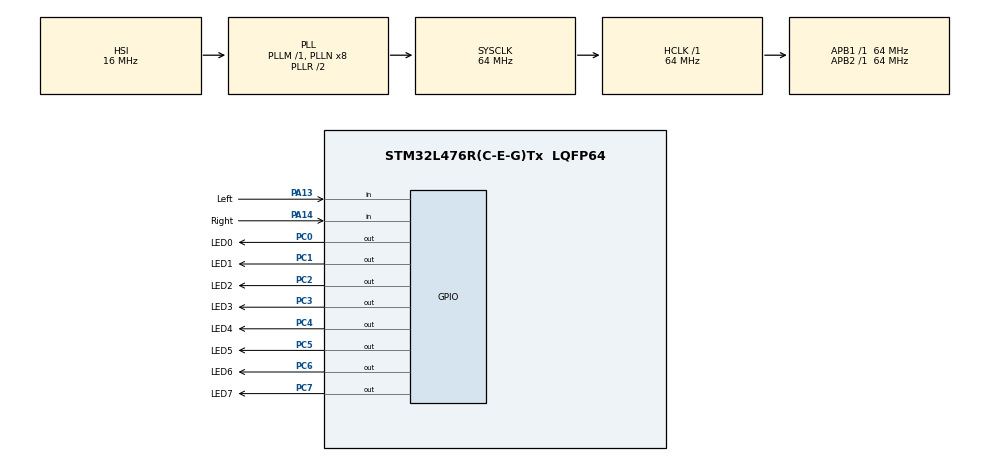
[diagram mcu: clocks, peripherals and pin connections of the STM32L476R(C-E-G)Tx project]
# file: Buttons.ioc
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Mcu.Family=STM32L4
Mcu.Name=STM32L476R(C-E-G)Tx
Mcu.Package=LQFP64
NVIC.PriorityGroup=NVIC_PRIORITYGROUP_4
PA13\ (JTMS-SWDIO).GPIO_Label=Left
PA13\ (JTMS-SWDIO).GPIO_PuPd=GPIO_PULLUP
PA13\ (JTMS-SWDIO).Signal=GPIO_Input
PA14\ (JTCK-SWCLK).GPIO_Label=Right
PA14\ (JTCK-SWCLK).GPIO_PuPd=GPIO_PULLUP
PA14\ (JTCK-SWCLK).Signal=GPIO_Input
PC0.GPIO_Label=LED0
PC0.Signal=GPIO_Output
PC1.GPIO_Label=LED1
PC1.Signal=GPIO_Output
PC2.GPIO_Label=LED2
PC2.Signal=GPIO_Output
PC3.GPIO_Label=LED3
PC3.Signal=GPIO_Output
PC4.GPIO_Label=LED4
PC4.Signal=GPIO_Output
PC5.GPIO_Label=LED5
PC5.Signal=GPIO_Output
PC6.GPIO_Label=LED6
PC6.Signal=GPIO_Output
PC7.GPIO_Label=LED7
PC7.Signal=GPIO_Output
PH0-OSC_IN\ (PH0).Mode=HSE-External-Oscillator
PH0-OSC_IN\ (PH0).Signal=RCC_OSC_IN
PH1-OSC_OUT\ (PH1).Mode=HSE-External-Oscillator
PH1-OSC_OUT\ (PH1).Signal=RCC_OSC_OUT
ProjectManager.HeapSize=0x200
ProjectManager.StackSize=0x400
ProjectManager.TargetToolchain=STM32CubeIDE
RCC.ADCFreq_Value=64000000
RCC.AHBFreq_Value=64000000
RCC.APB1Freq_Value=64000000
RCC.APB1TimFreq_Value=64000000
RCC.APB2Freq_Value=64000000
RCC.APB2TimFreq_Value=64000000
RCC.CortexFreq_Value=64000000
RCC.HCLKFreq_Value=64000000
RCC.HSE_VALUE=8000000
RCC.HSI_VALUE=16000000
RCC.LSE_VALUE=32768
RCC.MSI_VALUE=4000000
RCC.PLLSourceVirtual=RCC_PLLSOURCE_HSI
RCC.SYSCLKFreq_VALUE=64000000
RCC.SYSCLKSource=RCC_SYSCLKSOURCE_PLLCLK
RCC.USBFreq_Value=64000000
RCC.VCOOutputFreq_Value=128000000
board=custom

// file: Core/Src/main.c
/* USER CODE BEGIN Header */
/**
  ******************************************************************************
  * @file           : main.c
  * @brief          : Main program body
  ******************************************************************************
  * @attention
  *
  * Copyright (c) 2024 STMicroelectronics.
  * All rights reserved.
  *
  * This software is licensed under terms that can be found in the LICENSE file
  * in the root directory of this software component.
  * If no LICENSE file comes with this software, it is provided AS-IS.
  *
  ******************************************************************************
  */
/* USER CODE END Header */
#include "main.h"

int j=4;

void SystemClock_Config(void);
static void MX_GPIO_Init(void);

int main(void)
{

  /* MCU Configuration--------------------------------------------------------*/

  /* Reset of all peripherals, Initializes the Flash interface and the Systick. */
  HAL_Init();

  /* Configure the system clock */
  SystemClock_Config();

  /* Initialize all configured peripherals */
  MX_GPIO_Init();
  /* USER CODE BEGIN 2 */
  int LED[]={LED0_Pin,LED1_Pin,LED2_Pin,LED3_Pin,LED4_Pin,LED5_Pin,LED6_Pin,LED7_Pin};
  /* USER CODE END 2 */

  /* Infinite loop */
  /* USER CODE BEGIN WHILE */
  while (1)
  {
	  if(HAL_GPIO_ReadPin(Right_GPIO_Port, Right_Pin)==0)
	  {
		  HAL_GPIO_WritePin(GPIOC, LED[j], 0);
		  j--;
		  if(j<0)
		  {
			  j=7;
		  }
		  HAL_GPIO_WritePin(GPIOC, LED[j], 1);
		  HAL_Delay(10);
		  while(HAL_GPIO_ReadPin(Right_GPIO_Port, Right_Pin)==0);
	  }
	  if(HAL_GPIO_ReadPin(Left_GPIO_Port, Left_Pin)==0)
	  	  {
	  		  HAL_GPIO_WritePin(GPIOC, LED[j], 0);
	  		  j++;
	  		  if(j>7)
	  		  {
	  			  j=0;
	  		  }
	  		  HAL_GPIO_WritePin(GPIOC, LED[j], 1);
	  		  HAL_Delay(10);
	  		while(HAL_GPIO_ReadPin(Left_GPIO_Port, Left_Pin)==0);
	  	  }
    /* USER CODE END WHILE */

  }
}

void SystemClock_Config(void)
{
  RCC_OscInitTypeDef RCC_OscInitStruct = {0};
  RCC_ClkInitTypeDef RCC_ClkInitStruct = {0};

  /** Configure the main internal regulator output voltage
  */
  if (HAL_PWREx_ControlVoltageScaling(PWR_REGULATOR_VOLTAGE_SCALE1) != HAL_OK)
  {
    Error_Handler();
  }

  /** Initializes the RCC Oscillators according to the specified parameters
  * in the RCC_OscInitTypeDef structure.
  */
  RCC_OscInitStruct.OscillatorType = RCC_OSCILLATORTYPE_HSI;
  RCC_OscInitStruct.HSIState = RCC_HSI_ON;
  RCC_OscInitStruct.HSICalibrationValue = RCC_HSICALIBRATION_DEFAULT;
  RCC_OscInitStruct.PLL.PLLState = RCC_PLL_ON;
  RCC_OscInitStruct.PLL.PLLSource = RCC_PLLSOURCE_HSI;
  RCC_OscInitStruct.PLL.PLLM = 1;
  RCC_OscInitStruct.PLL.PLLN = 8;
  RCC_OscInitStruct.PLL.PLLP = RCC_PLLP_DIV7;
  RCC_OscInitStruct.PLL.PLLQ = RCC_PLLQ_DIV2;
  RCC_OscInitStruct.PLL.PLLR = RCC_PLLR_DIV2;
  if (HAL_RCC_OscConfig(&RCC_OscInitStruct) != HAL_OK)
  {
    Error_Handler();
  }

  /** Initializes the CPU, AHB and APB buses clocks
  */
  RCC_ClkInitStruct.ClockType = RCC_CLOCKTYPE_HCLK|RCC_CLOCKTYPE_SYSCLK
                              |RCC_CLOCKTYPE_PCLK1|RCC_CLOCKTYPE_PCLK2;
  RCC_ClkInitStruct.SYSCLKSource = RCC_SYSCLKSOURCE_PLLCLK;
  RCC_ClkInitStruct.AHBCLKDivider = RCC_SYSCLK_DIV1;
  RCC_ClkInitStruct.APB1CLKDivider = RCC_HCLK_DIV1;
  RCC_ClkInitStruct.APB2CLKDivider = RCC_HCLK_DIV1;

  if (HAL_RCC_ClockConfig(&RCC_ClkInitStruct, FLASH_LATENCY_3) != HAL_OK)
  {
    Error_Handler();
  }
}

static void MX_GPIO_Init(void)
{
  GPIO_InitTypeDef GPIO_InitStruct = {0};

  /* GPIO Ports Clock Enable */
  __HAL_RCC_GPIOH_CLK_ENABLE();
  __HAL_RCC_GPIOC_CLK_ENABLE();
  __HAL_RCC_GPIOA_CLK_ENABLE();

  /*Configure GPIO pin Output Level */
  HAL_GPIO_WritePin(GPIOC, LED0_Pin|LED1_Pin|LED2_Pin|LED3_Pin
                          |LED4_Pin|LED5_Pin|LED6_Pin|LED7_Pin, GPIO_PIN_RESET);

  /*Configure GPIO pins : LED0_Pin LED1_Pin LED2_Pin LED3_Pin
                           LED4_Pin LED5_Pin LED6_Pin LED7_Pin */
  GPIO_InitStruct.Pin = LED0_Pin|LED1_Pin|LED2_Pin|LED3_Pin
                          |LED4_Pin|LED5_Pin|LED6_Pin|LED7_Pin;
  GPIO_InitStruct.Mode = GPIO_MODE_OUTPUT_PP;
  GPIO_InitStruct.Pull = GPIO_NOPULL;
  GPIO_InitStruct.Speed = GPIO_SPEED_FREQ_LOW;
  HAL_GPIO_Init(GPIOC, &GPIO_InitStruct);

  /*Configure GPIO pins : Left_Pin Right_Pin */
  GPIO_InitStruct.Pin = Left_Pin|Right_Pin;
  GPIO_InitStruct.Mode = GPIO_MODE_INPUT;
  GPIO_InitStruct.Pull = GPIO_PULLUP;
  HAL_GPIO_Init(GPIOA, &GPIO_InitStruct);

}

void Error_Handler(void)
{
  __disable_irq();
  while (1)
  {
  }
}
